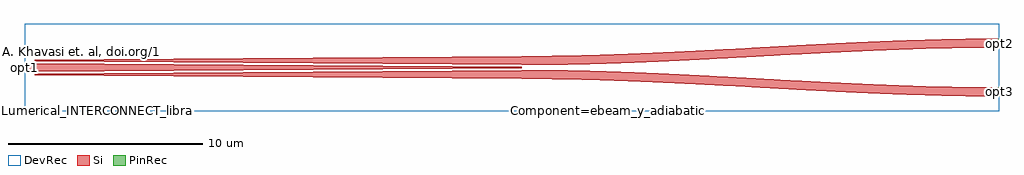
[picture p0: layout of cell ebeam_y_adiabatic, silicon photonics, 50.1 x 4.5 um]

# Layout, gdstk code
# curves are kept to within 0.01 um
import gdstk
lib = gdstk.Library(unit=1e-6, precision=1e-09)
def R(c, l, rs):  # rectangles x0, y0, x1, y1
    for r in rs: c.add(gdstk.rectangle(r[:2], r[2:], *l))
def P(c, l, *ps):  # polygons
    for p in ps: c.add(gdstk.Polygon(p, *l))
Si = (1, 0)
PinRec = (1, 10)
DevRec = (68, 0)

ebeam_y_adiabatic = lib.new_cell('ebeam_y_adiabatic')
P(ebeam_y_adiabatic, Si, [(25.55,0.13),(0.55,0.325),(0.55,0.385),(26.437,0.583),(28.485,0.615),(30.6,0.678),(32.989,0.777),(40.837,1.191),(44.181,1.346),(47.115,1.44),(50.05,1.475),(50.05,1.025),(47.388,0.996),(44.863,0.922),(41.792,0.789),(34.763,0.414),(31.59,0.266),(28.485,0.165)],
  [(49.743,-1.475),(47.115,-1.44),(44.181,-1.346),(40.837,-1.191),(32.989,-0.777),(30.6,-0.678),(28.485,-0.615),(26.437,-0.583),(0.55,-0.385),(0.55,-0.325),(25.55,-0.13),(28.485,-0.165),(30.6,-0.228),(32.989,-0.327),(40.837,-0.741),(44.181,-0.896),(47.115,-0.99),(50.05,-1.025),(50.05,-1.475)],
  [(0.05,-0.225),(0.05,0.225),(0.55,0.225),(25.55,0.03),(25.55,-0.03),(0.55,-0.225)])
R(ebeam_y_adiabatic, PinRec, [(50,-1.475,50.1,-1.025), (0,-0.225,0.1,0.225), (50,1.025,50.1,1.475)])
R(ebeam_y_adiabatic, DevRec, [(0.05,-2.25,50.05,2.25)])
ebeam_y_adiabatic.add(gdstk.Label('Component=ebeam_y_adiabatic', (30,-2.19), layer=68, texttype=0))
ebeam_y_adiabatic.add(gdstk.Label('A. Khavasi et. al, doi.org/10.1109/JSTQE.2019.2917501 ', (0.59,0.81), layer=68, texttype=0))
ebeam_y_adiabatic.add(gdstk.Label('Lumerical_INTERCONNECT_library=Design kits/ebeam', (0.59,-2.19), layer=68, texttype=0))
ebeam_y_adiabatic.add(gdstk.Label('opt3', (50.05,-1.25), layer=1, texttype=10))
ebeam_y_adiabatic.add(gdstk.Label('opt2', (50.05,1.25), layer=1, texttype=10))
ebeam_y_adiabatic.add(gdstk.Label('opt1', (0.05,0), layer=1, texttype=10))

lib.write_gds('ebeam_y_adiabatic.gds')
